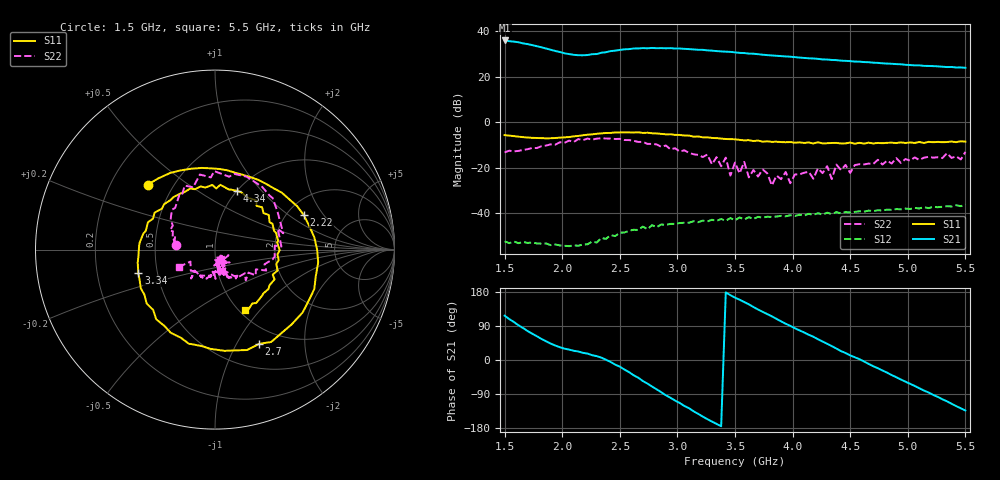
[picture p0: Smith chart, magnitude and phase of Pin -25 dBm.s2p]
! RsaToolbox (C) 2015 Rohde & Schwarz America
! Number of points: 101
! Number of ports: 2
! Balanced ports?: No
# Hz S RI R 50
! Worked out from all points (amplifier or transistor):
!   101 points, 1.5 GHz to 5.5 GHz, reference 50 ohm
!   highest |S21| = 35.9 dB at 1.5 GHz (marker M1)
!   |S21| within 3 dB of that: start of sweep to 1.819 GHz
!   unconditionally stable (mu >= 1): start of sweep to end of sweep
!   at 2.14 GHz: K = 5.56, MAG = 31.4 dB, |S12| = -54.2 dB
!   at 3.5 GHz: K = 1.86, MAG = 31.5 dB, |S12| = -43.0 dB
!   at 5.5 GHz: K = 1.72, MAG = 25.0 dB, |S12| = -36.0 dB
!   S11 on the Smith chart (normalised r, x): 1.5 GHz: 0.36, +0.36; 2.22 GHz: 2.46, +1.32; 2.7 GHz: 0.79, -1.24; 3.34 GHz: 0.39, -0.13; 4.34 GHz: 1.00, +0.75; 5.5 GHz: 1.06, -0.83
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1.5e9  -0.3741 0.3623  -28.19 55.3  0.0016 -0.00184  -0.2159 0.0256
1.62e9  -0.1919 0.4413  -1.638 56.7  0.000901 -0.00203  -0.2219 0.0745
1.82e9  0.0671 0.4421  24.78 36.21  -0.000153 -0.00216  -0.2466 0.166
2.02e9  0.2889 0.3639  28.11 16.15  -0.000334 -0.00192  -0.1859 0.2997
2.18e9  0.4574 0.2421  27.79 9.499  -0.000514 -0.00201  -0.0231 0.4022
2.22e9  0.4949 0.1924  28.42 8.694  -0.000472 -0.00204  -0.00432 0.4375
2.34e9  0.5686 0.00244  33.17 3.614  -0.00109 -0.00267  0.175 0.4066
2.5e9  0.5183 -0.2924  36.65 -11.64  -0.00231 -0.00299  0.3209 0.2875
2.7e9  0.2456 -0.5252  23.98 -34.75  -0.00444 -0.00257  0.3701 0.017
2.86e9  -0.0247 -0.5533  3.703 -42.01  -0.00562 -0.00096  0.2759 -0.0816
3.02e9  -0.2469 -0.4632  -16.4 -37.96  -0.00591 0.00163  0.1865 -0.1283
3.14e9  -0.3445 -0.3357  -28.04 -27.78  -0.00598 0.00303  0.1156 -0.161
3.34e9  -0.4272 -0.1312  -35.57 -7.151  -0.00383 0.00566  0.0755 -0.1532
3.5e9  -0.4205 0.0371  -32.76 9.106  -0.00201 0.00676  0.0192 -0.1289
3.7e9  -0.337 0.2053  -21.25 22.62  0.0011 0.00831  0.0228 -0.0601
3.86e9  -0.231 0.2926  -9.109 27.13  0.00386 0.0076  0.0173 -0.0653
4.18e9  0.00714 0.3407  11.94 21.92  0.00824 0.00414  2.1e-05 -0.0576
4.34e9  0.1233 0.3275  18.59 13.83  0.00951 0.00153  0.0218 -0.0522
4.58e9  0.2622 0.2365  21.28 0.8159  0.0106 -0.00333  0.0581 -0.1049
4.86e9  0.3514 0.0493  14.7 -12.22  0.00722 -0.0095  -0.0136 -0.123
5.18e9  0.3318 -0.1659  1.305 -17.07  0.000416 -0.013  -0.0626 -0.1624
5.5e9  0.1646 -0.3369  -10.68 -11.34  -0.00911 -0.0129  -0.2007 -0.0963
